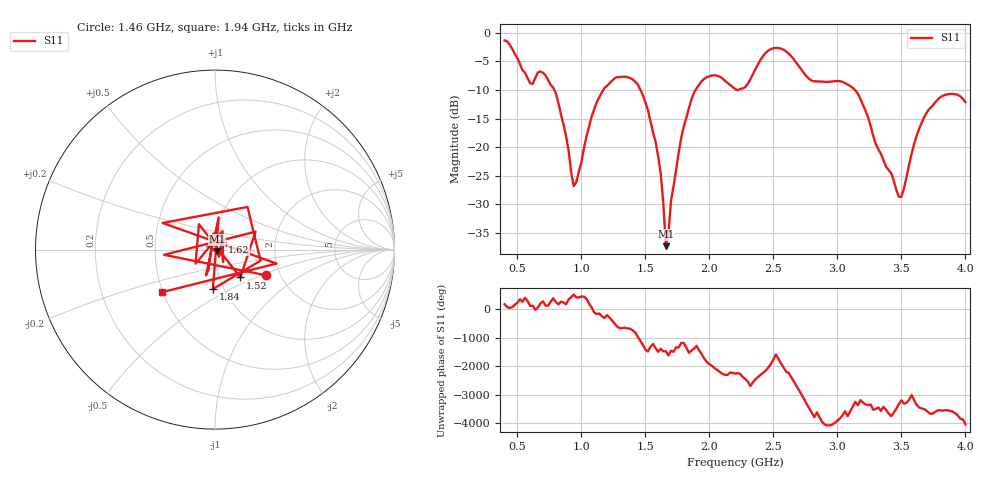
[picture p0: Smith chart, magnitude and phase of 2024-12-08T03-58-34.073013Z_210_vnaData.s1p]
!Created with skrf (http://scikit-rf.org).
# Hz S RI R 50.0
!freq ReS11 ImS11
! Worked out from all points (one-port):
!   181 points, 400 MHz to 4 GHz, reference 50 ohm
!   lowest |S11| = -37.3 dB at 1.66 GHz (marker M1), VSWR 1.03, Z = 51.1 - j0.886 ohm
!   |S11| at or under -10 dB: 788.5 MHz to 1.171 GHz (382.3 MHz wide, 39 % of centre); 1.462 GHz to 1.892 GHz (430.6 MHz wide, 25.7 % of centre); 3.138 GHz to end of sweep (the widest 3 of 4)
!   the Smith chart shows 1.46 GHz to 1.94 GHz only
!   S11 on the Smith chart (normalised r, x): 1.46 GHz: 1.69, -0.54; 1.52 GHz: 1.26, -0.41; 1.62 GHz: 1.07, +0.09; 1.84 GHz: 0.89, -0.41; 1.94 GHz: 0.50, -0.27
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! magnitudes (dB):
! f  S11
! 400 MHz  -1.3
! 600 MHz  -8.8
! 720 MHz  -7.5
! 800 MHz  -10.6
! 860 MHz  -16.0
! 940 MHz  -26.8
! 1.12 GHz  -12.1
! 1.3 GHz  -7.7
! 1.46 GHz  -9.9
! 1.52 GHz  -13.6
! 1.62 GHz  -24.8
! 1.66 GHz  -37.3
! 1.76 GHz  -20.9
! 1.84 GHz  -13.2
! 1.94 GHz  -8.5
! 2.06 GHz  -7.5
! 2.2 GHz  -9.8
! 2.28 GHz  -9.5
! 2.48 GHz  -2.9
! 2.66 GHz  -4.7
! 2.8 GHz  -8.4
! 3.1 GHz  -9.3
! 3.18 GHz  -11.6
! 3.48 GHz  -28.7
! 3.56 GHz  -23.1
! 3.72 GHz  -13.3
! 3.86 GHz  -10.8
! 4 GHz  -12.1
